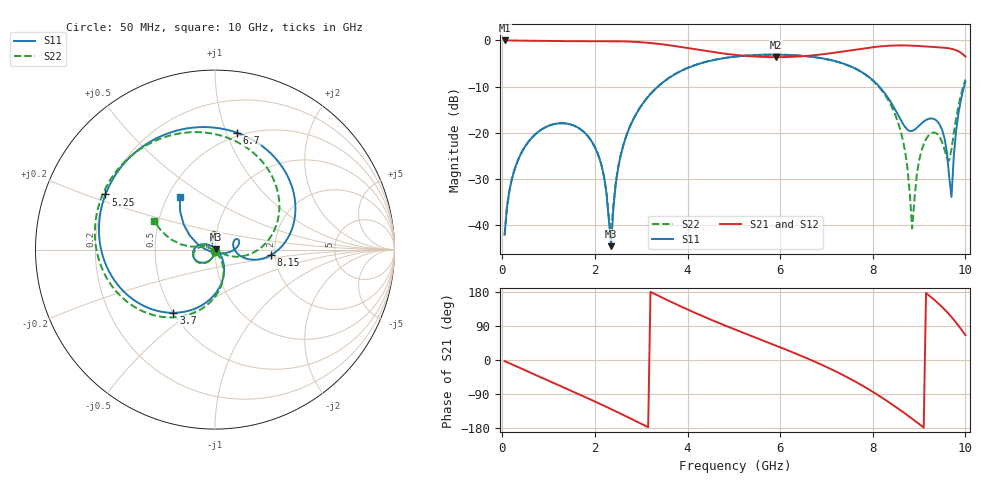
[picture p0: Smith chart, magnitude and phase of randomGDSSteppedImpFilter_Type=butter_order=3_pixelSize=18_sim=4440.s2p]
! freq	dB(S11)	phase(S11)	dB(S12)	phase(S12)
!  dB(S21)	phase(S21)	dB(S22)	phase(S22)
!S-par simulation data
#  GHz  S  DB  R 50
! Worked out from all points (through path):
!   200 points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, 50 MHz to 10 GHz, reference 50 ohm
!   highest |S21| = -0.01 dB at 50 MHz (marker M1); lowest = -3.6 dB at 5.9 GHz (marker M2)
!   group delay of S21, straight-line fit = 164 ps
!   lowest |S11| = -44.6 dB at 2.35 GHz (marker M3), VSWR 1.01, Z = 50.5 + j0.295 ohm
!   |S11| at or under -10 dB: start of sweep to 3.362 GHz; 8.138 GHz to 9.973 GHz (1.835 GHz wide, 20.3 % of centre)
!   |S22| runs from -42.1 to -3.1 dB; largest |S21 - S12| = 0
!   S11 on the Smith chart (normalised r, x): 50 MHz: 1.00, -0.02; 3.7 GHz: 0.50, -0.43; 5.25 GHz: 0.20, +0.23; 6.7 GHz: 0.47, +1.09; 8.15 GHz: 1.89, -0.13; 10 GHz: 0.58, +0.39
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0.05  -42.15 -91.0  -0.01 -2.8  -0.01 -2.8  -42.15 -90.9
0.2  -30.36 -101.0  -0.02 -11.1  -0.02 -11.1  -30.36 -100.4
0.55  -22.17 -121.5  -0.07 -30.2  -0.07 -30.2  -22.17 -119.8
1.75  -19.75 170.0  -0.16 -95.6  -0.16 -95.6  -19.76 177.9
2.15  -27.41 142.6  -0.15 -118.1  -0.15 -118.1  -27.41 162.5
2.35  -44.62 29.8  -0.16 -129.6  -0.16 -129.6  -41.52 -113.3
2.65  -21.56 -56.4  -0.22 -147.3  -0.22 -147.3  -21.47 -61.8
3.4  -9.66 -105.2  -0.78 167.8  -0.78 167.8  -9.63 -101.2
3.7  -7.49 -123.4  -1.18 150.2  -1.18 150.2  -7.47 -117.8
5.05  -3.49 163.3  -3.16 79.2  -3.16 79.2  -3.48 175.1
5.25  -3.31 153.3  -3.35 69.6  -3.35 69.6  -3.29 166.1
5.9  -3.08 120.9  -3.63 38.4  -3.63 38.4  -3.07 136.8
6.7  -3.58 79.2  -3.24 -1.9  -3.24 -1.9  -3.57 98.9
8.15  -10.13 -5.8  -1.31 -95.5  -1.31 -95.5  -10.29 10.8
8.35  -12.76 -14.3  -1.15 -111.6  -1.15 -111.6  -13.24 -3.9
8.7  -18.81 -4.7  -1.09 -141.6  -1.09 -141.6  -24.22 -26.4
8.85  -19.64 13.8  -1.13 -155.0  -1.13 -155.0  -40.78 36.7
9.15  -17.26 25.5  -1.31 176.8  -1.31 176.8  -21.42 103.9
9.5  -19.48 -0.8  -1.55 139.5  -1.55 139.5  -22.10 87.6
9.7  -33.96 -131.0  -1.82 113.6  -1.82 113.6  -23.58 158.8
9.8  -19.55 161.4  -2.13 98.7  -2.13 98.7  -16.88 173.1
10  -9.03 123.8  -3.49 65.7  -3.49 65.7  -8.51 154.8
